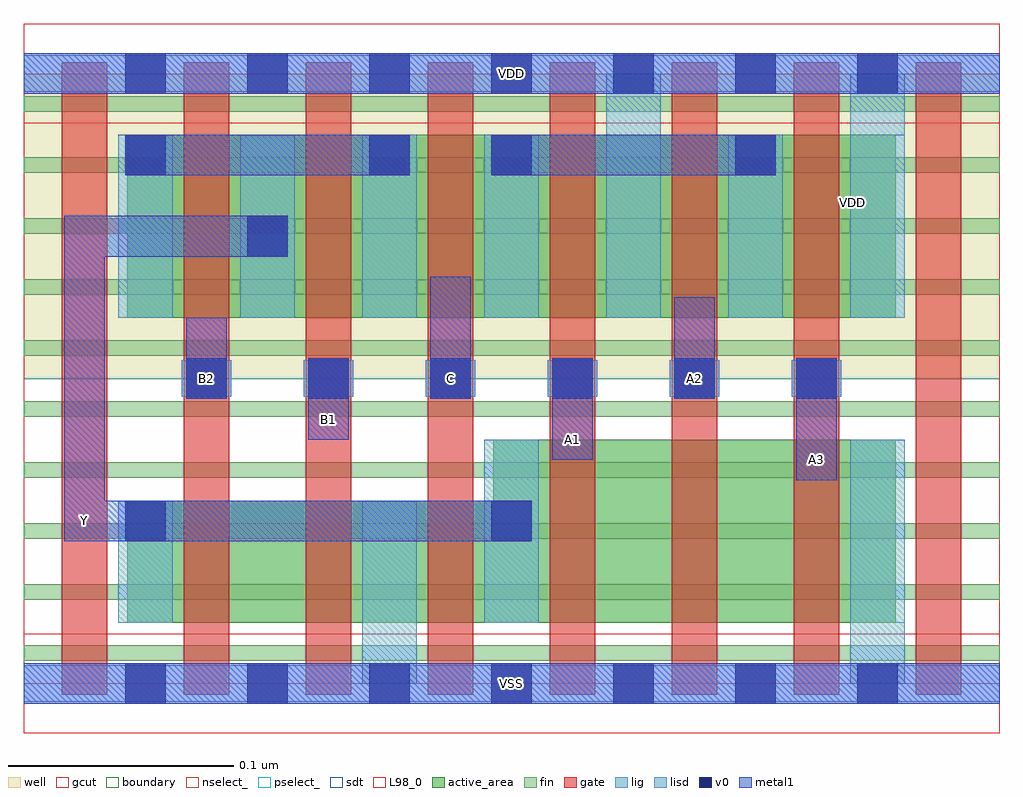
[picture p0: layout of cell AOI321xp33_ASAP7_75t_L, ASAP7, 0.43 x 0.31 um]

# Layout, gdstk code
import gdstk
lib = gdstk.Library(unit=1e-6, precision=2.5e-10)
def R(c, l, rs):  # rectangles x0, y0, x1, y1
    for r in rs: c.add(gdstk.rectangle(r[:2], r[2:], *l))
def A(c, l, x, y, w, h, nx, ny, dx, dy):  # array of equal rectangles
    R(c, l, [(x+i*dx, y+j*dy, x+i*dx+w, y+j*dy+h) for i in range(nx) for j in range(ny)])
def P(c, l, *ps):  # polygons
    for p in ps: c.add(gdstk.Polygon(p, *l))
well = (1, 0)
fin = (2, 0)
gate = (7, 0)
gcut = (10, 0)
active_area = (11, 0)
nselect_ = (12, 0)
pselect_ = (13, 0)
lig = (16, 0)
lisd = (17, 0)
v0 = (18, 0)
metal1 = (19, 0)
sdt = (88, 0)
L98_0 = (98, 0)
boundary = (100, 0)

aoi321xp33_asap7_75t_l = lib.new_cell('AOI321xp33_ASAP7_75t_L')
R(aoi321xp33_asap7_75t_l, well, [(0,0.135,0.432,0.27)])
A(aoi321xp33_asap7_75t_l, fin, 0, 0.01, 0.432, 0.007, 1, 10, 0, 0.027)
A(aoi321xp33_asap7_75t_l, gate, 0.017, -0.005, 0.02, 0.28, 8, 1, 0.054, 0)
R(aoi321xp33_asap7_75t_l, gcut, [(0,-0.022,0.432,0.022), (0,0.248,0.432,0.292)])
R(aoi321xp33_asap7_75t_l, active_area, [(0.046,0.162,0.386,0.243)])
P(aoi321xp33_asap7_75t_l, active_area, [(0.386,0.108),(0.208,0.108),(0.208,0.081),(0.046,0.081),(0.046,0.027),(0.386,0.027)])
R(aoi321xp33_asap7_75t_l, nselect_, [(0,0,0.432,0.135)])
R(aoi321xp33_asap7_75t_l, pselect_, [(0,0.135,0.432,0.27)])
A(aoi321xp33_asap7_75t_l, lig, 0.07, 0.127, 0.022, 0.016, 6, 1, 0.054, 0)
R(aoi321xp33_asap7_75t_l, lig, [(0,-0.008,0.432,0.008), (0,0.262,0.432,0.278)])
A(aoi321xp33_asap7_75t_l, lisd, 0.042, 0.162, 0.024, 0.081, 4, 1, 0.054, 0)
R(aoi321xp33_asap7_75t_l, lisd, [(0.15,0,0.174,0.081), (0.366,0,0.39,0.108), (0.042,0.027,0.066,0.081), (0.204,0.027,0.228,0.108), (0.258,0.162,0.282,0.27), (0.312,0.162,0.336,0.243), (0.366,0.162,0.39,0.27)])
A(aoi321xp33_asap7_75t_l, v0, 0.045, -0.009, 0.018, 0.018, 7, 2, 0.054, 0.27)
A(aoi321xp33_asap7_75t_l, v0, 0.072, 0.126, 0.018, 0.018, 6, 1, 0.054, 0)
R(aoi321xp33_asap7_75t_l, v0, [(0.045,0.063,0.063,0.081), (0.207,0.063,0.225,0.081), (0.099,0.189,0.117,0.207), (0.045,0.225,0.063,0.243), (0.153,0.225,0.171,0.243), (0.207,0.225,0.225,0.243), (0.315,0.225,0.333,0.243)])
R(aoi321xp33_asap7_75t_l, metal1, [(0,-0.009,0.432,0.009), (0.342,0.09,0.36,0.144), (0.234,0.099,0.252,0.144), (0.126,0.108,0.144,0.144), (0.072,0.126,0.09,0.162), (0.18,0.126,0.198,0.18), (0.288,0.126,0.306,0.171), (0.045,0.225,0.171,0.243), (0.207,0.225,0.333,0.243), (0,0.261,0.432,0.279)])
P(aoi321xp33_asap7_75t_l, metal1, [(0.225,0.081),(0.036,0.081),(0.036,0.189),(0.117,0.189),(0.117,0.207),(0.018,0.207),(0.018,0.063),(0.225,0.063)])
A(aoi321xp33_asap7_75t_l, sdt, 0.042, 0.162, 0.024, 0.081, 7, 1, 0.054, 0)
R(aoi321xp33_asap7_75t_l, sdt, [(0.042,0.027,0.066,0.081), (0.15,0.027,0.174,0.081), (0.204,0.027,0.228,0.108), (0.366,0.027,0.39,0.108)])
R(aoi321xp33_asap7_75t_l, L98_0, [(0,0,0.432,0.27)])
R(aoi321xp33_asap7_75t_l, boundary, [(0,0,0.432,0.27)])
aoi321xp33_asap7_75t_l.add(gdstk.Label('B1', (0.135,0.117), layer=19, texttype=251))
aoi321xp33_asap7_75t_l.add(gdstk.Label('A2', (0.297,0.135), layer=19, texttype=251))
aoi321xp33_asap7_75t_l.add(gdstk.Label('Y', (0.027,0.072), layer=19, texttype=251))
aoi321xp33_asap7_75t_l.add(gdstk.Label('C', (0.189,0.135), layer=19, texttype=251))
aoi321xp33_asap7_75t_l.add(gdstk.Label('A3', (0.351,0.099), layer=19, texttype=251))
aoi321xp33_asap7_75t_l.add(gdstk.Label('B2', (0.081,0.135), layer=19, texttype=251))
aoi321xp33_asap7_75t_l.add(gdstk.Label('A1', (0.243,0.108), layer=19, texttype=251))
aoi321xp33_asap7_75t_l.add(gdstk.Label('VSS', (0.216,0), layer=19, texttype=251))
aoi321xp33_asap7_75t_l.add(gdstk.Label('VDD', (0.216,0.27), layer=19, texttype=251))
aoi321xp33_asap7_75t_l.add(gdstk.Label('VDD', (0.367,0.213), layer=1, texttype=251))
aoi321xp33_asap7_75t_l.add(gdstk.Label('VSS', (0.497,0.213), layer=3, texttype=251))

lib.write_gds('AOI321xp33_ASAP7_75t_L.gds')
